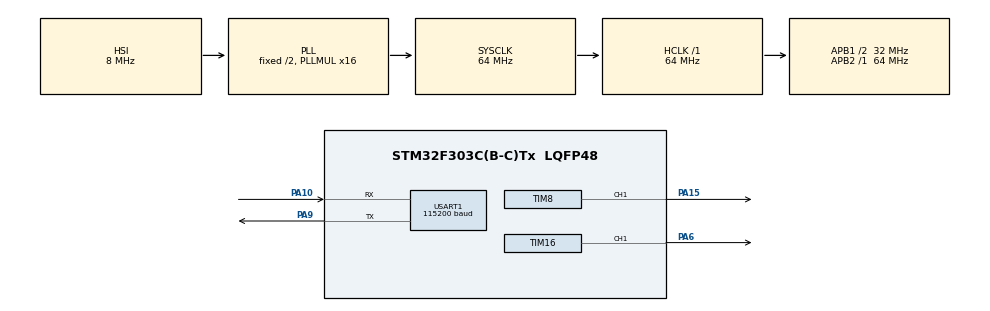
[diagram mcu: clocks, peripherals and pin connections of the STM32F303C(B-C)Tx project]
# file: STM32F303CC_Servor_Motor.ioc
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Mcu.Family=STM32F3
Mcu.Name=STM32F303C(B-C)Tx
Mcu.Package=LQFP48
NVIC.PriorityGroup=NVIC_PRIORITYGROUP_4
NVIC.USART1_IRQn=true\:0\:0\:false\:false\:true\:true\:true
PA10.Mode=Asynchronous
PA10.Signal=USART1_RX
PA13.Mode=Serial_Wire
PA13.Signal=SYS_JTMS-SWDIO
PA14.Mode=Serial_Wire
PA14.Signal=SYS_JTCK-SWCLK
PA15.Signal=S_TIM8_CH1
PA6.Signal=S_TIM16_CH1
PA9.Mode=Asynchronous
PA9.Signal=USART1_TX
ProjectManager.HeapSize=0x200
ProjectManager.StackSize=0x400
ProjectManager.TargetToolchain=STM32CubeIDE
RCC.AHBFreq_Value=64000000
RCC.APB1CLKDivider=RCC_HCLK_DIV2
RCC.APB1Freq_Value=32000000
RCC.APB1TimFreq_Value=64000000
RCC.APB2Freq_Value=64000000
RCC.APB2TimFreq_Value=64000000
RCC.CortexFreq_Value=64000000
RCC.HCLKFreq_Value=64000000
RCC.HSE_VALUE=8000000
RCC.HSI_VALUE=8000000
RCC.LSE_VALUE=32768
RCC.PLLMUL=RCC_PLL_MUL16
RCC.SYSCLKFreq_VALUE=64000000
RCC.SYSCLKSourceVirtual=RCC_SYSCLKSOURCE_PLLCLK
RCC.USBFreq_Value=64000000
SH.S_TIM16_CH1.0=TIM16_CH1,PWM Generation1 CH1
SH.S_TIM8_CH1.0=TIM8_CH1,PWM Generation1 CH1
TIM1.Period=63999
TIM1.Prescaler=19
TIM1.TIM_MasterOutputTrigger=TIM_TRGO_UPDATE
TIM1.TIM_MasterOutputTrigger2=TIM_TRGO2_UPDATE
TIM16.Channel=TIM_CHANNEL_1
TIM16.Period=63999
TIM16.Prescaler=19
TIM16.Pulse=4799
TIM8.Channel-PWM\ Generation1\ CH1=TIM_CHANNEL_1
TIM8.OCMode_PWM-PWM\ Generation1\ CH1=TIM_OCMODE_PWM2
TIM8.Period=39999
TIM8.Prescaler=3
TIM8.Pulse-PWM\ Generation1\ CH1=19999
USART1.BaudRate=115200
USART1.VirtualMode-Asynchronous=VM_ASYNC
VP_TIM16_VS_ClockSourceINT.Mode=Enable_Timer
VP_TIM1_VS_ClockSourceINT.Mode=Internal
VP_TIM8_VS_ClockSourceINT.Mode=Internal
VP_TIM8_VS_ClockSourceITR.Mode=TriggerSource_ITR0
VP_TIM8_VS_ControllerModeTrigger.Mode=Trigger Mode
VP_TIM8_VS_OPM.Mode=OPM_bit
board=custom

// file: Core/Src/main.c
/* USER CODE BEGIN Header */
/**
  ******************************************************************************
  * @file           : main.c
  * @brief          : Main program body
  ******************************************************************************
  * @attention
  *
  * Copyright (c) 2022 STMicroelectronics.
  * All rights reserved.
  *
  * This software is licensed under terms that can be found in the LICENSE file
  * in the root directory of this software component.
  * If no LICENSE file comes with this software, it is provided AS-IS.
  *
  ******************************************************************************
  */
/* USER CODE END Header */
#include "main.h"

/* USER CODE BEGIN Includes */
#include <stdio.h>
#include <stdlib.h>
#include <string.h>
#include "servo.h"
/* USER CODE END Includes */

TIM_HandleTypeDef htim1;
TIM_HandleTypeDef htim8;
TIM_HandleTypeDef htim16;

UART_HandleTypeDef huart1;

/* USER CODE BEGIN PV */
servo_t S1, S2;
uint8_t RxBuff[12];	// Ex. ROT 180 or CAL 65536
uint8_t RxByte;
uint8_t RxLen = 0;
/* USER CODE END PV */

void SystemClock_Config(void);
static void MX_GPIO_Init(void);
static void MX_TIM16_Init(void);
static void MX_USART1_UART_Init(void);
static void MX_TIM1_Init(void);
static void MX_TIM8_Init(void);

int main(void)
{

  /* MCU Configuration--------------------------------------------------------*/

  /* Reset of all peripherals, Initializes the Flash interface and the Systick. */
  HAL_Init();

  /* Configure the system clock */
  SystemClock_Config();

  /* Initialize all configured peripherals */
  MX_GPIO_Init();
  MX_TIM16_Init();
  MX_USART1_UART_Init();
  MX_TIM1_Init();
  MX_TIM8_Init();
  /* USER CODE BEGIN 2 */
#ifdef LL_Driver
  LL_USART_EnableIT_RXNE(USART1);
  S1.SlaveTim = TIM16;
  S1.Channel = LL_TIM_CHANNEL_CH1;

  S2.MasterTim = TIM1;
  S2.SlaveTim = TIM8;
  S2.Channel = LL_TIM_CHANNEL_CH1;
#else
  HAL_UART_Receive_IT(&huart1, &RxByte, 1);
  S1.SlaveTim = &htim16;
  S1.Channel = TIM_CHANNEL_1;

  S2.MasterTim = &htim1;
  S2.SlaveTim = &htim8;
  S2.Channel = TIM_CHANNEL_1;
#endif
  S1.AMin = 1850;
  S1.AMax = 8050;
  ServoMotor_Init(&S1);
  S2.AMin = 0;
  S2.AMax = 31000;
  ServoMotor_Init(&S2);

  /* USER CODE END 2 */

  /* Infinite loop */
  while (1)
  {

  }
}

void SystemClock_Config(void)
{
  RCC_OscInitTypeDef RCC_OscInitStruct = {0};
  RCC_ClkInitTypeDef RCC_ClkInitStruct = {0};
  RCC_PeriphCLKInitTypeDef PeriphClkInit = {0};

  /** Initializes the RCC Oscillators according to the specified parameters
  * in the RCC_OscInitTypeDef structure.
  */
  RCC_OscInitStruct.OscillatorType = RCC_OSCILLATORTYPE_HSI;
  RCC_OscInitStruct.HSIState = RCC_HSI_ON;
  RCC_OscInitStruct.HSICalibrationValue = RCC_HSICALIBRATION_DEFAULT;
  RCC_OscInitStruct.PLL.PLLState = RCC_PLL_ON;
  RCC_OscInitStruct.PLL.PLLSource = RCC_PLLSOURCE_HSI;
  RCC_OscInitStruct.PLL.PLLMUL = RCC_PLL_MUL16;
  if (HAL_RCC_OscConfig(&RCC_OscInitStruct) != HAL_OK)
  {
    Error_Handler();
  }
  /** Initializes the CPU, AHB and APB buses clocks
  */
  RCC_ClkInitStruct.ClockType = RCC_CLOCKTYPE_HCLK|RCC_CLOCKTYPE_SYSCLK
                              |RCC_CLOCKTYPE_PCLK1|RCC_CLOCKTYPE_PCLK2;
  RCC_ClkInitStruct.SYSCLKSource = RCC_SYSCLKSOURCE_PLLCLK;
  RCC_ClkInitStruct.AHBCLKDivider = RCC_SYSCLK_DIV1;
  RCC_ClkInitStruct.APB1CLKDivider = RCC_HCLK_DIV2;
  RCC_ClkInitStruct.APB2CLKDivider = RCC_HCLK_DIV1;

  if (HAL_RCC_ClockConfig(&RCC_ClkInitStruct, FLASH_LATENCY_2) != HAL_OK)
  {
    Error_Handler();
  }
  PeriphClkInit.PeriphClockSelection = RCC_PERIPHCLK_USART1|RCC_PERIPHCLK_TIM1
                              |RCC_PERIPHCLK_TIM8;
  PeriphClkInit.Usart1ClockSelection = RCC_USART1CLKSOURCE_PCLK2;
  PeriphClkInit.Tim1ClockSelection = RCC_TIM1CLK_HCLK;
  PeriphClkInit.Tim8ClockSelection = RCC_TIM8CLK_HCLK;
  if (HAL_RCCEx_PeriphCLKConfig(&PeriphClkInit) != HAL_OK)
  {
    Error_Handler();
  }
}

static void MX_TIM1_Init(void)
{

  TIM_ClockConfigTypeDef sClockSourceConfig = {0};
  TIM_MasterConfigTypeDef sMasterConfig = {0};

  htim1.Instance = TIM1;
  htim1.Init.Prescaler = 19;
  htim1.Init.CounterMode = TIM_COUNTERMODE_UP;
  htim1.Init.Period = 63999;
  htim1.Init.ClockDivision = TIM_CLOCKDIVISION_DIV1;
  htim1.Init.RepetitionCounter = 0;
  htim1.Init.AutoReloadPreload = TIM_AUTORELOAD_PRELOAD_DISABLE;
  if (HAL_TIM_Base_Init(&htim1) != HAL_OK)
  {
    Error_Handler();
  }
  sClockSourceConfig.ClockSource = TIM_CLOCKSOURCE_INTERNAL;
  if (HAL_TIM_ConfigClockSource(&htim1, &sClockSourceConfig) != HAL_OK)
  {
    Error_Handler();
  }
  sMasterConfig.MasterOutputTrigger = TIM_TRGO_UPDATE;
  sMasterConfig.MasterOutputTrigger2 = TIM_TRGO2_UPDATE;
  sMasterConfig.MasterSlaveMode = TIM_MASTERSLAVEMODE_DISABLE;
  if (HAL_TIMEx_MasterConfigSynchronization(&htim1, &sMasterConfig) != HAL_OK)
  {
    Error_Handler();
  }

}

static void MX_TIM8_Init(void)
{

  TIM_ClockConfigTypeDef sClockSourceConfig = {0};
  TIM_SlaveConfigTypeDef sSlaveConfig = {0};
  TIM_MasterConfigTypeDef sMasterConfig = {0};
  TIM_OC_InitTypeDef sConfigOC = {0};
  TIM_BreakDeadTimeConfigTypeDef sBreakDeadTimeConfig = {0};

  htim8.Instance = TIM8;
  htim8.Init.Prescaler = 3;
  htim8.Init.CounterMode = TIM_COUNTERMODE_UP;
  htim8.Init.Period = 39999;
  htim8.Init.ClockDivision = TIM_CLOCKDIVISION_DIV1;
  htim8.Init.RepetitionCounter = 0;
  htim8.Init.AutoReloadPreload = TIM_AUTORELOAD_PRELOAD_DISABLE;
  if (HAL_TIM_Base_Init(&htim8) != HAL_OK)
  {
    Error_Handler();
  }
  sClockSourceConfig.ClockSource = TIM_CLOCKSOURCE_INTERNAL;
  if (HAL_TIM_ConfigClockSource(&htim8, &sClockSourceConfig) != HAL_OK)
  {
    Error_Handler();
  }
  if (HAL_TIM_PWM_Init(&htim8) != HAL_OK)
  {
    Error_Handler();
  }
  if (HAL_TIM_OnePulse_Init(&htim8, TIM_OPMODE_SINGLE) != HAL_OK)
  {
    Error_Handler();
  }
  sSlaveConfig.SlaveMode = TIM_SLAVEMODE_TRIGGER;
  sSlaveConfig.InputTrigger = TIM_TS_ITR0;
  if (HAL_TIM_SlaveConfigSynchro(&htim8, &sSlaveConfig) != HAL_OK)
  {
    Error_Handler();
  }
  sMasterConfig.MasterOutputTrigger = TIM_TRGO_RESET;
  sMasterConfig.MasterOutputTrigger2 = TIM_TRGO2_RESET;
  sMasterConfig.MasterSlaveMode = TIM_MASTERSLAVEMODE_DISABLE;
  if (HAL_TIMEx_MasterConfigSynchronization(&htim8, &sMasterConfig) != HAL_OK)
  {
    Error_Handler();
  }
  sConfigOC.OCMode = TIM_OCMODE_PWM2;
  sConfigOC.Pulse = 19999;
  sConfigOC.OCPolarity = TIM_OCPOLARITY_HIGH;
  sConfigOC.OCNPolarity = TIM_OCNPOLARITY_HIGH;
  sConfigOC.OCFastMode = TIM_OCFAST_DISABLE;
  sConfigOC.OCIdleState = TIM_OCIDLESTATE_RESET;
  sConfigOC.OCNIdleState = TIM_OCNIDLESTATE_RESET;
  if (HAL_TIM_PWM_ConfigChannel(&htim8, &sConfigOC, TIM_CHANNEL_1) != HAL_OK)
  {
    Error_Handler();
  }
  sBreakDeadTimeConfig.OffStateRunMode = TIM_OSSR_DISABLE;
  sBreakDeadTimeConfig.OffStateIDLEMode = TIM_OSSI_DISABLE;
  sBreakDeadTimeConfig.LockLevel = TIM_LOCKLEVEL_OFF;
  sBreakDeadTimeConfig.DeadTime = 0;
  sBreakDeadTimeConfig.BreakState = TIM_BREAK_DISABLE;
  sBreakDeadTimeConfig.BreakPolarity = TIM_BREAKPOLARITY_HIGH;
  sBreakDeadTimeConfig.BreakFilter = 0;
  sBreakDeadTimeConfig.Break2State = TIM_BREAK2_DISABLE;
  sBreakDeadTimeConfig.Break2Polarity = TIM_BREAK2POLARITY_HIGH;
  sBreakDeadTimeConfig.Break2Filter = 0;
  sBreakDeadTimeConfig.AutomaticOutput = TIM_AUTOMATICOUTPUT_DISABLE;
  if (HAL_TIMEx_ConfigBreakDeadTime(&htim8, &sBreakDeadTimeConfig) != HAL_OK)
  {
    Error_Handler();
  }
  HAL_TIM_MspPostInit(&htim8);

}

static void MX_TIM16_Init(void)
{

  TIM_OC_InitTypeDef sConfigOC = {0};
  TIM_BreakDeadTimeConfigTypeDef sBreakDeadTimeConfig = {0};

  htim16.Instance = TIM16;
  htim16.Init.Prescaler = 19;
  htim16.Init.CounterMode = TIM_COUNTERMODE_UP;
  htim16.Init.Period = 63999;
  htim16.Init.ClockDivision = TIM_CLOCKDIVISION_DIV1;
  htim16.Init.RepetitionCounter = 0;
  htim16.Init.AutoReloadPreload = TIM_AUTORELOAD_PRELOAD_DISABLE;
  if (HAL_TIM_Base_Init(&htim16) != HAL_OK)
  {
    Error_Handler();
  }
  if (HAL_TIM_PWM_Init(&htim16) != HAL_OK)
  {
    Error_Handler();
  }
  sConfigOC.OCMode = TIM_OCMODE_PWM1;
  sConfigOC.Pulse = 4799;
  sConfigOC.OCPolarity = TIM_OCPOLARITY_HIGH;
  sConfigOC.OCNPolarity = TIM_OCNPOLARITY_HIGH;
  sConfigOC.OCFastMode = TIM_OCFAST_DISABLE;
  sConfigOC.OCIdleState = TIM_OCIDLESTATE_RESET;
  sConfigOC.OCNIdleState = TIM_OCNIDLESTATE_RESET;
  if (HAL_TIM_PWM_ConfigChannel(&htim16, &sConfigOC, TIM_CHANNEL_1) != HAL_OK)
  {
    Error_Handler();
  }
  sBreakDeadTimeConfig.OffStateRunMode = TIM_OSSR_DISABLE;
  sBreakDeadTimeConfig.OffStateIDLEMode = TIM_OSSI_DISABLE;
  sBreakDeadTimeConfig.LockLevel = TIM_LOCKLEVEL_OFF;
  sBreakDeadTimeConfig.DeadTime = 0;
  sBreakDeadTimeConfig.BreakState = TIM_BREAK_DISABLE;
  sBreakDeadTimeConfig.BreakPolarity = TIM_BREAKPOLARITY_HIGH;
  sBreakDeadTimeConfig.BreakFilter = 0;
  sBreakDeadTimeConfig.AutomaticOutput = TIM_AUTOMATICOUTPUT_DISABLE;
  if (HAL_TIMEx_ConfigBreakDeadTime(&htim16, &sBreakDeadTimeConfig) != HAL_OK)
  {
    Error_Handler();
  }
  HAL_TIM_MspPostInit(&htim16);

}

static void MX_USART1_UART_Init(void)
{

  huart1.Instance = USART1;
  huart1.Init.BaudRate = 115200;
  huart1.Init.WordLength = UART_WORDLENGTH_8B;
  huart1.Init.StopBits = UART_STOPBITS_1;
  huart1.Init.Parity = UART_PARITY_NONE;
  huart1.Init.Mode = UART_MODE_TX_RX;
  huart1.Init.HwFlowCtl = UART_HWCONTROL_NONE;
  huart1.Init.OverSampling = UART_OVERSAMPLING_16;
  huart1.Init.OneBitSampling = UART_ONE_BIT_SAMPLE_DISABLE;
  huart1.AdvancedInit.AdvFeatureInit = UART_ADVFEATURE_NO_INIT;
  if (HAL_UART_Init(&huart1) != HAL_OK)
  {
    Error_Handler();
  }

}

static void MX_GPIO_Init(void)
{

  /* GPIO Ports Clock Enable */
  __HAL_RCC_GPIOA_CLK_ENABLE();

}

/* USER CODE BEGIN 4 */
void Execute_CMD(void)
{
	const char s[2] = " ";
	char *val[8];
	char *p = strtok((char*)RxBuff, s);
	uint8_t i = 0;
	while (p != NULL)
	{
		val[i++] = p;
		p = strtok(NULL, s);
	}

	if (strcmp(val[0], "ROT") == 0)
	{
		servo_t tmp = (strcmp(val[1], "S1") == 0) ? S1 : S2;
		Servo_SetAngle(&tmp, atoi(val[2]));
	}

	if (strcmp(val[0], "CAL") == 0)
	{
		servo_t tmp = (strcmp(val[1], "S1") == 0) ? S1 : S2;
		Servo_Calibrate(&tmp, atoi(val[2]));
	}
}

#ifdef LL_Driver
void USART_Rx_Callback(void)
{
	uint8_t pTemp = LL_USART_ReceiveData8(USART1);
	if (pTemp != 0xa)	// Newline
	{
		if (pTemp != 0xd)	// CR
		{
			RxBuff[RxLen] = pTemp;
			RxLen++;
		}
	}else{
		RxLen = 0;
		Execute_CMD();
		memset(RxBuff, '\0', sizeof(RxBuff));
	}
}
#else
void HAL_UART_RxCpltCallback(UART_HandleTypeDef *UartHandle)
{
	if (RxByte != 0xa)
	{
		if (RxByte != 0xd)
		{
			RxBuff[RxLen] = RxByte;
			RxLen++;
		}
	}else{
		RxLen = 0;
		Execute_CMD();
		memset(RxBuff, '\0', sizeof(RxBuff));
	}
	HAL_UART_Receive_IT(&huart1, &RxByte, 1);
}
#endif
/* USER CODE END 4 */

void Error_Handler(void)
{
  __disable_irq();
  while (1)
  {
  }
}
